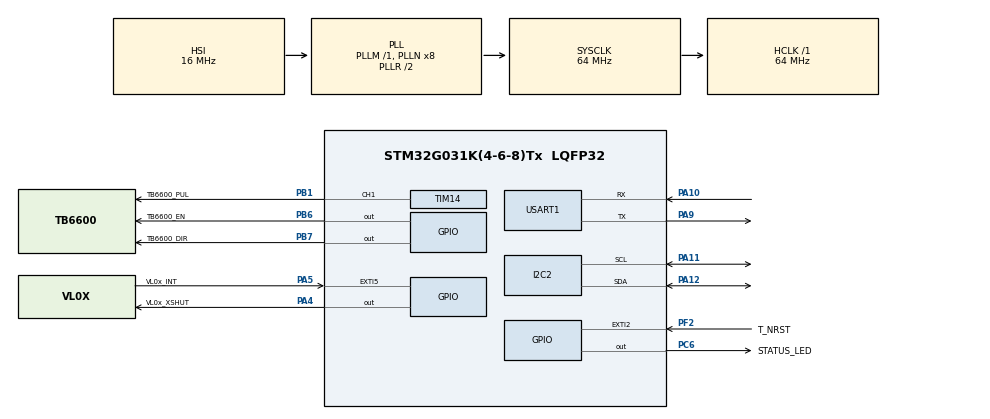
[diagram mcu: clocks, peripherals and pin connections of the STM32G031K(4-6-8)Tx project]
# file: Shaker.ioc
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Dma.Request0=USART1_RX
Dma.Request1=USART1_TX
Dma.USART1_RX.0.Direction=DMA_PERIPH_TO_MEMORY
Dma.USART1_RX.0.EventEnable=DISABLE
Dma.USART1_RX.0.Instance=DMA1_Channel1
Dma.USART1_RX.0.MemDataAlignment=DMA_MDATAALIGN_BYTE
Dma.USART1_RX.0.MemInc=DMA_MINC_ENABLE
Dma.USART1_RX.0.Mode=DMA_CIRCULAR
Dma.USART1_RX.0.PeriphDataAlignment=DMA_PDATAALIGN_BYTE
Dma.USART1_RX.0.PeriphInc=DMA_PINC_DISABLE
Dma.USART1_RX.0.Polarity=HAL_DMAMUX_REQ_GEN_RISING
Dma.USART1_RX.0.Priority=DMA_PRIORITY_LOW
Dma.USART1_RX.0.RequestNumber=1
Dma.USART1_RX.0.SignalID=NONE
Dma.USART1_RX.0.SyncEnable=DISABLE
Dma.USART1_RX.0.SyncPolarity=HAL_DMAMUX_SYNC_NO_EVENT
Dma.USART1_RX.0.SyncRequestNumber=1
Dma.USART1_RX.0.SyncSignalID=NONE
Dma.USART1_TX.1.Direction=DMA_MEMORY_TO_PERIPH
Dma.USART1_TX.1.EventEnable=DISABLE
Dma.USART1_TX.1.Instance=DMA1_Channel2
Dma.USART1_TX.1.MemDataAlignment=DMA_MDATAALIGN_BYTE
Dma.USART1_TX.1.MemInc=DMA_MINC_ENABLE
Dma.USART1_TX.1.Mode=DMA_CIRCULAR
Dma.USART1_TX.1.PeriphDataAlignment=DMA_PDATAALIGN_BYTE
Dma.USART1_TX.1.PeriphInc=DMA_PINC_DISABLE
Dma.USART1_TX.1.Polarity=HAL_DMAMUX_REQ_GEN_RISING
Dma.USART1_TX.1.Priority=DMA_PRIORITY_LOW
Dma.USART1_TX.1.RequestNumber=1
Dma.USART1_TX.1.SignalID=NONE
Dma.USART1_TX.1.SyncEnable=DISABLE
Dma.USART1_TX.1.SyncPolarity=HAL_DMAMUX_SYNC_NO_EVENT
Dma.USART1_TX.1.SyncRequestNumber=1
Dma.USART1_TX.1.SyncSignalID=NONE
I2C2.Timing=0x10707DBC
Mcu.Family=STM32G0
Mcu.Name=STM32G031K(4-6-8)Tx
Mcu.Package=LQFP32
NVIC.DMA1_Channel1_IRQn=true\:0\:0\:false\:false\:true\:false\:true\:true
NVIC.DMA1_Channel2_3_IRQn=true\:0\:0\:false\:false\:true\:false\:true\:true
NVIC.EXTI4_15_IRQn=true\:0\:0\:false\:false\:true\:true\:true\:true
NVIC.TIM2_IRQn=true\:0\:0\:false\:false\:true\:true\:true\:true
NVIC.USART1_IRQn=true\:0\:0\:false\:false\:true\:true\:true\:true
PA10.Mode=Asynchronous
PA10.Signal=USART1_RX
PA11\ [PA9].Mode=I2C
PA11\ [PA9].Signal=I2C2_SCL
PA12\ [PA10].Mode=I2C
PA12\ [PA10].Signal=I2C2_SDA
PA13.GPIO_Label=T_JTMS
PA13.Mode=Serial_Wire
PA13.Signal=SYS_SWDIO
PA14-BOOT0.GPIO_Label=T_JTCK
PA14-BOOT0.Mode=Serial_Wire
PA14-BOOT0.Signal=SYS_SWCLK
PA2.GPIO_Label=UART_TX
PA2.GPIO_PuPd=GPIO_PULLUP
PA2.Signal=USART2_TX
PA3.GPIO_Label=UART_RX
PA3.GPIO_PuPd=GPIO_PULLUP
PA3.Signal=USART2_RX
PA4.GPIO_Label=VL0x_XSHUT
PA4.GPIO_PuPd=GPIO_PULLUP
PA4.Signal=GPIO_Output
PA5.GPIO_Label=VL0x_INT
PA5.GPIO_ModeDefaultEXTI=GPIO_MODE_IT_FALLING
PA5.Signal=GPXTI5
PA9.Mode=Asynchronous
PA9.Signal=USART1_TX
PB1.GPIO_Label=TB6600_PUL
PB1.Signal=S_TIM14_CH1
PB6.GPIO_Label=TB6600_EN
PB6.GPIO_PuPd=GPIO_PULLUP
PB6.GPIO_Speed=GPIO_SPEED_FREQ_LOW
PB6.Signal=GPIO_Output
PB7.GPIO_Label=TB6600_DIR
PB7.GPIO_PuPd=GPIO_PULLUP
PB7.Signal=GPIO_Output
PC14-OSC32_IN\ (PC14).Mode=LSE-External-Oscillator
PC14-OSC32_IN\ (PC14).Signal=RCC_OSC32_IN
PC15-OSC32_OUT\ (PC15).Mode=LSE-External-Oscillator
PC15-OSC32_OUT\ (PC15).Signal=RCC_OSC32_OUT
PC6.GPIO_Label=STATUS_LED
PC6.GPIO_PuPd=GPIO_PULLDOWN
PC6.Signal=GPIO_Output
PF2\ -\ NRST.GPIO_Label=T_NRST
PF2\ -\ NRST.GPIO_ModeDefaultEXTI=GPIO_MODE_IT_RISING
PF2\ -\ NRST.Signal=GPXTI2
ProjectManager.HeapSize=0x200
ProjectManager.StackSize=0x400
ProjectManager.TargetToolchain=STM32CubeIDE
RCC.ADCFreq_Value=64000000
RCC.AHBFreq_Value=64000000
RCC.CortexFreq_Value=64000000
RCC.EXTERNAL_CLOCK_VALUE=12288000
RCC.HCLKFreq_Value=64000000
RCC.HSE_VALUE=8000000
RCC.HSI_VALUE=16000000
RCC.SYSCLKFreq_VALUE=64000000
RCC.SYSCLKSource=RCC_SYSCLKSOURCE_PLLCLK
RCC.VCOOutputFreq_Value=128000000
SH.S_TIM14_CH1.0=TIM14_CH1,PWM Generation1 CH1
TIM14.AutoReloadPreload=TIM_AUTORELOAD_PRELOAD_ENABLE
TIM14.Channel=TIM_CHANNEL_1
TIM14.OCMode_PWM=TIM_OCMODE_PWM2
TIM14.OCPolarity_1=TIM_OCPOLARITY_LOW
TIM14.Period=4999
TIM14.Prescaler=63
TIM14.Pulse=2499
TIM2.Period=9
TIM2.Prescaler=6399
USART1.VirtualMode-Asynchronous=VM_ASYNC
VP_TIM14_VS_ClockSourceINT.Mode=Enable_Timer
VP_TIM2_VS_ClockSourceINT.Mode=Internal
board=NUCLEO-G031K8

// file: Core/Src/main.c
/* USER CODE BEGIN Header */
/**
  ******************************************************************************
  * @file           : main.c
  * @brief          : Main program body
  ******************************************************************************
  * @attention
  *
  * Copyright (c) 2026 STMicroelectronics.
  * All rights reserved.
  *
  * This software is licensed under terms that can be found in the LICENSE file
  * in the root directory of this software component.
  * If no LICENSE file comes with this software, it is provided AS-IS.
  *
  ******************************************************************************
  */
/* USER CODE END Header */
#include "main.h"
#include "dma.h"
#include "i2c.h"
#include "tim.h"
#include "usart.h"
#include "gpio.h"

/* USER CODE BEGIN Includes */
#include <stdio.h>
#include "tof_handler.h"
#include "serial_handler.h"
#include "tb6600.h"
#include "trajectory_planner.h"

/* USER CODE END Includes */

/* USER CODE BEGIN PD */
#define DEBUG_TRANSMIT_TIME 1000 //ms
#define MINIMUM_DISTANCE_MM 80
#define MAXIMUM_DISTANCE_MM 300
/* USER CODE END PD */

/* USER CODE BEGIN PV */
static system_state_t system_state = SYSTEM_IDLE;
volatile bool tof_measurement_ready = false;
serial_packet_t serial_pkt;
tof_handler_t th;
test_suite_t test_suite;
motion_state_t motion_state;

volatile int32_t n_repetitions_counter = 0;
static float shake_home_d = 0.0f;
static int8_t shake_dir = 1;

uint32_t latest_transmission = 0;
/* USER CODE END PV */

void SystemClock_Config(void);

int main(void)
{

  /* MCU Configuration--------------------------------------------------------*/

  /* Reset of all peripherals, Initializes the Flash interface and the Systick. */
  HAL_Init();

  /* Configure the system clock */
  SystemClock_Config();

  /* Initialize all configured peripherals */
  MX_GPIO_Init();
  MX_DMA_Init();
  MX_I2C2_Init();
  MX_USART1_UART_Init();
  MX_TIM14_Init();
  MX_TIM2_Init();
  /* USER CODE BEGIN 2 */

  serial_initialize(&serial_pkt);
  serial_dma_start();

  if(tof_handler_init(&th) != TOF_OK)
  {
      Error_Handler();
  }
  tof_handler_start_measurement(TOF_MEASUREMENT_ASAP);

  TB6600_init();
  motion_init(&motion_state, 0.001f);

  test_suite.j_max = 500;
  test_suite.a_max = 20;
  test_suite.v_max = 10;

  motion_state.target_d = -50;
  motion_state.steps_per_mm = 400;
  motion_state.is_running = true;

  TB6600_enable();
  HAL_TIM_Base_Start_IT(&htim2);
  HAL_TIM_PWM_Start(&htim14, TIM_CHANNEL_1);

  /* USER CODE END 2 */

  /* Infinite loop */
  while (1)
  {

    /* USER CODE BEGIN 3 */

    if(serial_message_available())
    {
        if(serial_parse(&serial_pkt) == SERIAL_OK)
        {
            switch(serial_pkt.cmd)
            {
                case SERIAL_IDENTIFY:
                {
                    uint8_t tx_buf[9];
                    tx_buf[0] = serial_pkt.cmd;

                    for(uint8_t i = 0; i < sizeof(SW_VERSION)/sizeof(SW_VERSION[0]); i++)
                    {
                        tx_buf[i+1] = SW_VERSION[i];
                    }

                    if(serial_send(tx_buf, sizeof(tx_buf)) != SERIAL_OK)
                    {
                        // Do something..?
                    }
                }
                break;
                case SERIAL_CONFIGURE_PARAM:
                {
                    system_state = SYSTEM_CALIBRATION;
                }
                break;
                case SERIAL_CONFIGURE_TEST_SUITE:
                {
                    if(serial_pkt.payload_size != 5)
                    {
                        break;
                    }

                    test_suite.j_max = serial_pkt.payload[0];
                    test_suite.a_max = serial_pkt.payload[1];
                    test_suite.v_max = serial_pkt.payload[2];
                    test_suite.d = (int8_t)serial_pkt.payload[3];
                    test_suite.n_repetitions = serial_pkt.payload[4];

                    serial_send_ack(serial_pkt.cmd, SERIAL_ACK);
                }
                break;
                case SERIAL_TEST_INIT:
                {
                    int16_t mid_pos = MINIMUM_DISTANCE_MM + (MAXIMUM_DISTANCE_MM - MINIMUM_DISTANCE_MM)/2;
                    int16_t start_pos = mid_pos - th.x_mm;

                    motion_state.target_d = start_pos;
                    motion_state.is_running = true;
                    serial_send_ack(serial_pkt.cmd, SERIAL_ACK);
                    HAL_TIM_Base_Start_IT(&htim2);
                    HAL_TIM_PWM_Start(&htim14, TIM_CHANNEL_1);
                }
                break;
                case SERIAL_START_TEST:
                {
                    system_state = SYSTEM_RUN;

                    serial_send_ack(serial_pkt.cmd, SERIAL_ACK);

                    n_repetitions_counter = 0;
                    shake_dir = 1;
                    shake_home_d = motion_state.d;

                    TB6600_enable();
                    motion_state.target_d = shake_home_d + (float)shake_dir * (float)test_suite.d;
                    motion_state.is_running = true;
                    HAL_TIM_Base_Start_IT(&htim2);
                    HAL_TIM_PWM_Start(&htim14, TIM_CHANNEL_1);
                }
                break;
                case SERIAL_STOP_TEST:
                {
                    system_state = SYSTEM_IDLE;

                    HAL_TIM_Base_Stop_IT(&htim2);
                    TB6600_disable();
                    motion_state.is_running = false;

                    serial_send_ack(serial_pkt.cmd, SERIAL_ACK);
                }
                break;
                case SERIAL_UNKNOWN:
                {

                }
                break;
                default:
                {

                }
                break;
            }
        }
        else
        {
            asm("nop");
            __HAL_UART_SEND_REQ(&huart1, UART_RXDATA_FLUSH_REQUEST);
        }
    }

    switch(system_state)
    {
        case SYSTEM_IDLE:
        {

        }
        break;
        case SYSTEM_CALIBRATION:
        {
            tof_calibration_state_t calibration_state = tof_handler_calibrate(&th);
            if(calibration_state == TOF_CALIBRATION_COMPLETED)
            {
                system_state = SYSTEM_IDLE;
            }
            else if(calibration_state == TOF_CALIBRATION_ERROR)
            {
                Error_Handler();
            }
        }
        break;
        case SYSTEM_RUN:
        {
            uint32_t current_tick = HAL_GetTick();

            if(current_tick - latest_transmission > DEBUG_TRANSMIT_TIME)
            {
                latest_transmission = current_tick;
                uint8_t tx_buf[3];

                tx_buf[0] = SERIAL_DATA;
                tx_buf[1] = (th.x_mm >> 8) & 0xFF;
                tx_buf[2] = th.x_mm & 0xFF;
                serial_send(tx_buf, sizeof(tx_buf));
            }
        }
        break;
        default:
        {
            Error_Handler();
        }
    }

    if(tof_measurement_ready)
    {
        tof_measurement_ready = false;
        tof_handler_get_latest_measurement(&th);

        if(th.x_mm <= MINIMUM_DISTANCE_MM || th.x_mm >= MAXIMUM_DISTANCE_MM)
        {
         // STOP ALL!!
         TB6600_disable();
         HAL_TIM_Base_Stop_IT(&htim2);
         motion_state.is_running = false;
         asm("nop");
        }
    }
  }
  /* USER CODE END 3 */
}

void SystemClock_Config(void)
{
  RCC_OscInitTypeDef RCC_OscInitStruct = {0};
  RCC_ClkInitTypeDef RCC_ClkInitStruct = {0};

  /** Configure the main internal regulator output voltage
  */
  HAL_PWREx_ControlVoltageScaling(PWR_REGULATOR_VOLTAGE_SCALE1);

  /** Initializes the RCC Oscillators according to the specified parameters
  * in the RCC_OscInitTypeDef structure.
  */
  RCC_OscInitStruct.OscillatorType = RCC_OSCILLATORTYPE_HSI;
  RCC_OscInitStruct.HSIState = RCC_HSI_ON;
  RCC_OscInitStruct.HSIDiv = RCC_HSI_DIV1;
  RCC_OscInitStruct.HSICalibrationValue = RCC_HSICALIBRATION_DEFAULT;
  RCC_OscInitStruct.PLL.PLLState = RCC_PLL_ON;
  RCC_OscInitStruct.PLL.PLLSource = RCC_PLLSOURCE_HSI;
  RCC_OscInitStruct.PLL.PLLM = RCC_PLLM_DIV1;
  RCC_OscInitStruct.PLL.PLLN = 8;
  RCC_OscInitStruct.PLL.PLLP = RCC_PLLP_DIV2;
  RCC_OscInitStruct.PLL.PLLQ = RCC_PLLQ_DIV2;
  RCC_OscInitStruct.PLL.PLLR = RCC_PLLR_DIV2;
  if (HAL_RCC_OscConfig(&RCC_OscInitStruct) != HAL_OK)
  {
    Error_Handler();
  }

  /** Initializes the CPU, AHB and APB buses clocks
  */
  RCC_ClkInitStruct.ClockType = RCC_CLOCKTYPE_HCLK|RCC_CLOCKTYPE_SYSCLK
                              |RCC_CLOCKTYPE_PCLK1;
  RCC_ClkInitStruct.SYSCLKSource = RCC_SYSCLKSOURCE_PLLCLK;
  RCC_ClkInitStruct.AHBCLKDivider = RCC_SYSCLK_DIV1;
  RCC_ClkInitStruct.APB1CLKDivider = RCC_HCLK_DIV1;

  if (HAL_RCC_ClockConfig(&RCC_ClkInitStruct, FLASH_LATENCY_2) != HAL_OK)
  {
    Error_Handler();
  }
}

/* USER CODE BEGIN 4 */
void HAL_GPIO_EXTI_Rising_Callback(uint16_t GPIO_Pin)
{
  /* Prevent unused argument(s) compilation warning */
  UNUSED(GPIO_Pin);
}

void HAL_GPIO_EXTI_Falling_Callback(uint16_t GPIO_Pin)
{
  if(GPIO_Pin == VL0x_INT_Pin)
  {
      tof_measurement_ready = true;
      asm("nop");
  }
 }
void HAL_TIM_PeriodElapsedCallback(TIM_HandleTypeDef *htim)
{
  if (htim == &htim2)
  {
      if(motion_state.is_running)
      {
        motion_update(&motion_state, &test_suite);
      }
      else
      {
        bool start_next_leg = false;

        if(test_suite.n_repetitions == 255) //Inifinate repetitions
        {
            start_next_leg = true;
        }
        else
        {
            n_repetitions_counter++;

            if(n_repetitions_counter >= test_suite.n_repetitions)
            {
                HAL_TIM_Base_Stop_IT(&htim2);
            }
            else
            {
                start_next_leg = true;
            }
        }

        if(start_next_leg)
        {
            shake_dir = -shake_dir;
            motion_state.target_d = shake_home_d + (float)shake_dir * (float)test_suite.d;
            motion_state.is_running = true;

            TB6600_enable();
            HAL_TIM_PWM_Start(&htim14, TIM_CHANNEL_1);
        }
      }
  }
}
/* USER CODE END 4 */

void Error_Handler(void)
{
  __disable_irq();
  while (1)
  {
  }
}
